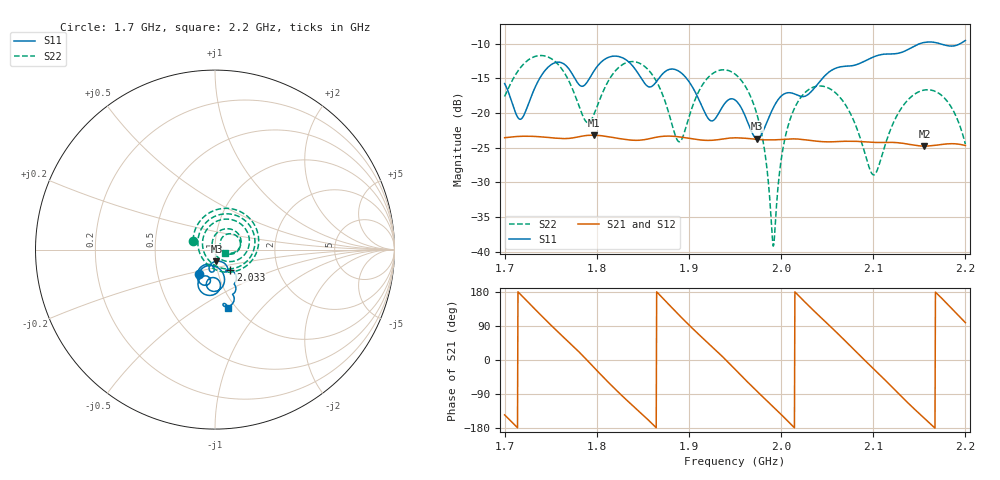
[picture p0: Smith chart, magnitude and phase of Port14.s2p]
# Hz S RI R 50
! CMT, CMT808U, 21440046, 21.4.3/4
! Date: 11/17/2025 2:54:13 PM
! Data: Format (Calibration Info)
! Freq	S11:Re/Im(F2)	S41:Re/Im(F2)	S14:Re/Im(F2)	S44:Re/Im(F2)
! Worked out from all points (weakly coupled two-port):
!   1001 points, 1.7 GHz to 2.2 GHz, reference 50 ohm
!   highest |S21| = -23.18 dB at 1.797 GHz (marker M1); lowest = -24.8 dB at 2.155 GHz (marker M2)
!   lowest |S11| = -23.7 dB at 1.974 GHz (marker M3), VSWR 1.14, Z = 50.4 - j6.58 ohm
!   |S11| at or under -10 dB: start of sweep to 2.15 GHz; 2.173 GHz to 2.194 GHz (21.62 MHz wide, 0.99 % of centre)
!   |S22| runs from -39.2 to -11.7 dB; largest |S21 - S12| = 0.00019
!   S11 on the Smith chart (normalised r, x): 1.7 GHz: 0.81, -0.23; 2.033 GHz: 1.15, -0.27; 2.2 GHz: 0.91, -0.67
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1.7e9  -0.0881 -0.1376  -0.0543 -0.0383  -0.0544 -0.0383  -0.1218 0.0503
1.7175e9  -0.0108 -0.0898  -0.0675 0.00897  -0.0675 0.00909  -0.0151 0.2134
1.7435e9  0.0476 -0.1957  -0.021 0.0637  -0.021 0.0638  0.2292 0.1192
1.7835e9  -0.0116 -0.1557  0.0659 0.0172  0.066 0.0171  -0.0232 -0.0974
1.797e9  0.0302 -0.199  0.0653 -0.0234  0.0652 -0.0235  -0.095 0.0246
1.831e9  -0.0814 -0.2301  -0.014 -0.063  -0.0141 -0.0631  0.1451 0.1776
1.867e9  -0.0254 -0.1747  -0.0672 0.00599  -0.0672 0.0061  0.1239 -0.099
1.89e9  -0.0914 -0.1764  -0.0304 0.0601  -0.0303 0.0602  -0.0578 -0.023
1.9235e9  -0.0311 -0.0825  0.0497 0.0397  0.0498 0.0397  0.0826 0.1686
1.95e9  -0.0268 -0.1215  0.0604 -0.0275  0.0604 -0.0276  0.1896 0.0246
1.974e9  0.00833 -0.0649  0.00806 -0.0642  0.00797 -0.0642  0.0709 -0.0662
1.983e9  0.0412 -0.0698  -0.0154 -0.0623  -0.0155 -0.0623  0.0195 -0.0448
1.9915e9  0.0639 -0.0885  -0.0355 -0.0534  -0.0356 -0.0534  -0.0101 -0.0044
2.0065e9  0.0657 -0.1236  -0.0608 -0.023  -0.0609 -0.0229  -0.0027 0.0761
2.0325e9  0.086 -0.1135  -0.0465 0.0432  -0.0464 0.0433  0.1079 0.106
2.0335e9  0.0886 -0.1143  -0.0446 0.045  -0.0445 0.0451  0.1116 0.1037
2.068e9  0.1092 -0.1877  0.0365 0.0509  0.0366 0.0508  0.1195 -0.00863
2.0995e9  0.1158 -0.2248  0.0573 -0.0224  0.0573 -0.0225  0.0343 0.0112
2.117e9  0.0994 -0.2478  0.0281 -0.0548  0.028 -0.0548  0.036 0.0611
2.1555e9  0.0859 -0.3115  -0.0519 -0.0256  -0.0519 -0.0255  0.1335 0.0609
2.18e9  0.0448 -0.3034  -0.0514 0.031  -0.0513 0.0311  0.1218 -0.0122
2.2e9  0.0699 -0.3266  -0.00877 0.0578  -0.00869 0.0578  0.0567 -0.019
